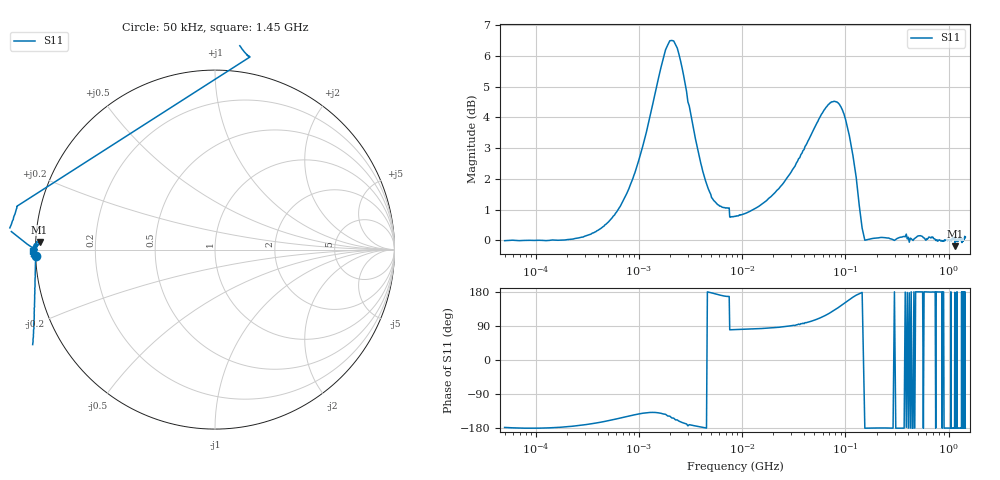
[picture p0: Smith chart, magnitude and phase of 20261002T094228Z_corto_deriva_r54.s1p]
! piloto_deriva / corto_deriva / r54
# HZ S RI R 50
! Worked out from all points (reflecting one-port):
!   501 points, 50 kHz to 1.45 GHz, reference 50 ohm
!   lowest |S11| = -0.2 dB at 1.153 GHz (marker M1), VSWR 90.51, Z = 0.553 + j1.08 ohm
!   phase of S11 starts at -178 deg and turns -2 deg over the sweep
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50000  -0.9978 -0.036
183000  -0.9994 -0.0526
363500  -1.003 -0.2251
658000  -1.013 -0.5108
1180000  -1.136 -0.9771
1630000  -1.473 -1.211
1990000  -1.793 -1.114
2440000  -1.901 -0.6414
2800000  -1.756 -0.3838
3160000  -1.593 -0.2396
4600000  -1.224 0.00377
7300000  -1.102 0.2421
7750000  0.1944 1.074
8560000  0.1864 1.078
1.9e7  0.1082 1.173
3.16e7  -0.0349 1.311
4.69e7  -0.3234 1.454
6.76e7  -0.8598 1.418
8.02e7  -1.156 1.219
9.46e7  -1.361 0.8766
9.82e7  -1.385 0.7817
1e8  -1.39 0.738
1.18e8  -1.332 0.3382
1.36e8  -1.134 0.1004
1.63e8  -1.003 -0.0037
4.06e8  -1.011 -0.00346
1.153e9  -0.9772 0.0421
1.45e9  -1.011 -0.00588
